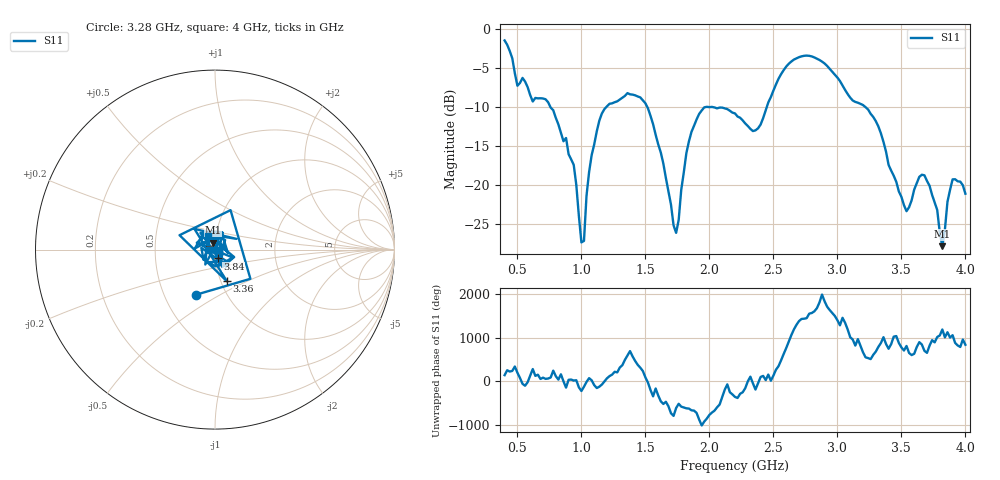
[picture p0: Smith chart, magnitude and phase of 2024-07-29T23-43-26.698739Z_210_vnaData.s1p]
!Created with skrf (http://scikit-rf.org).
# Hz S RI R 50.0
!freq ReS11 ImS11
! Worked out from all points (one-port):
!   181 points, 400 MHz to 4 GHz, reference 50 ohm
!   lowest |S11| = -27.9 dB at 3.82 GHz (marker M1), VSWR 1.08, Z = 48.8 + j3.78 ohm
!   |S11| at or under -10 dB: 756.8 MHz to 1.197 GHz (440.1 MHz wide, 45.1 % of centre); 1.514 GHz to 2.449 GHz (935.6 MHz wide, 47.2 % of centre); 3.216 GHz to end of sweep
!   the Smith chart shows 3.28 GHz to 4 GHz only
!   S11 on the Smith chart (normalised r, x): 3.28 GHz: 0.72, -0.39; 3.36 GHz: 1.07, -0.39; 3.84 GHz: 1.02, -0.10; 4 GHz: 0.91, +0.14
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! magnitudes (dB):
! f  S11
! 400 MHz  -1.5
! 500 MHz  -7.3
! 740 MHz  -9.4
! 860 MHz  -14.4
! 940 MHz  -17.5
! 1 GHz  -27.4
! 1.02 GHz  -27.2
! 1.06 GHz  -18.4
! 1.14 GHz  -11.8
! 1.3 GHz  -9.1
! 1.52 GHz  -10.2
! 1.72 GHz  -25.2
! 1.76 GHz  -24.5
! 1.82 GHz  -16.0
! 1.92 GHz  -10.9
! 2.2 GHz  -10.9
! 2.38 GHz  -12.8
! 2.66 GHz  -3.9
! 2.88 GHz  -4.2
! 3.1 GHz  -8.8
! 3.28 GHz  -11.3
! 3.36 GHz  -14.5
! 3.56 GHz  -22.9
! 3.68 GHz  -18.8
! 3.82 GHz  -27.9
! 3.84 GHz  -25.8
! 3.9 GHz  -19.3
! 4 GHz  -21.2
